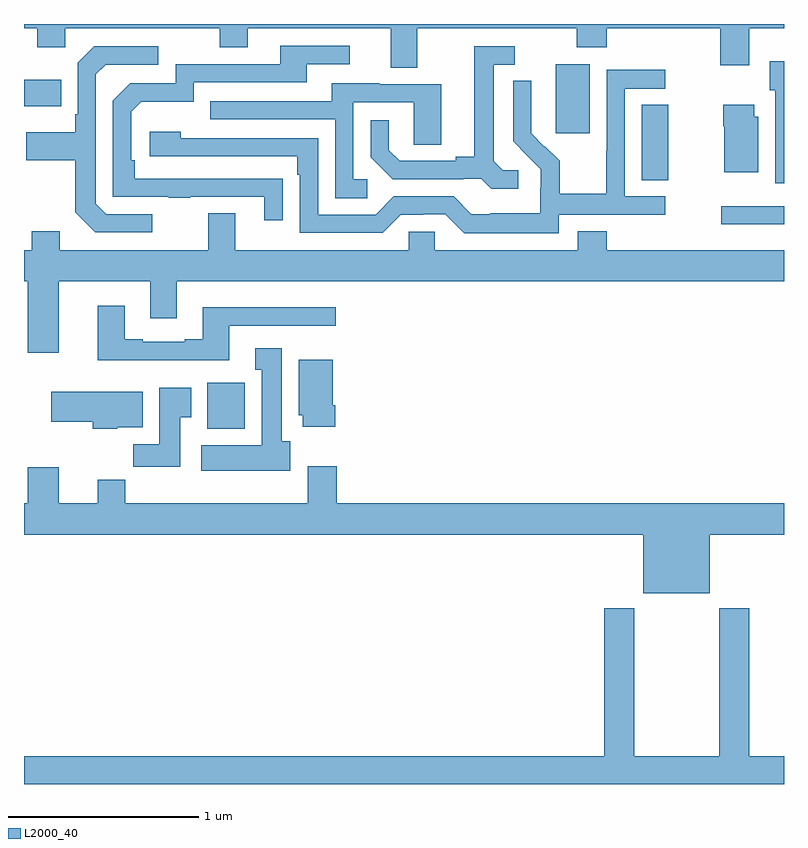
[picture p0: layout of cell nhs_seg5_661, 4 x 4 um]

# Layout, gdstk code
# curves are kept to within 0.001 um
import gdstk
lib = gdstk.Library(unit=1e-6, precision=1e-09)
def R(c, l, rs):  # rectangles x0, y0, x1, y1
    for r in rs: c.add(gdstk.rectangle(r[:2], r[2:], *l))
def P(c, l, *ps):  # polygons
    for p in ps: c.add(gdstk.Polygon(p, *l))
L2000_40 = (2000, 40)

nhs_seg5_661 = lib.new_cell('nhs_seg5_661')
R(nhs_seg5_661, L2000_40, [(153.965,838.67,154.162,838.912), (156.669,839.744,157,839.841), (156.251,839.977,156.39,840.374), (155.798,840.225,155.977,840.586), (153,840.365,153.197,840.505)])
P(nhs_seg5_661, L2000_40, [(153,840.776),(153.07,840.776),(153.07,840.677),(153.216,840.677),(153.216,840.776),(154.03,840.776),(154.03,840.677),(154.177,840.677),(154.177,840.776),(154.931,840.776),(154.931,840.568),(155.071,840.568),(155.071,840.776),(155.908,840.776),(155.908,840.677),(156.068,840.677),(156.068,840.776),(156.665,840.776),(156.665,840.582),(156.817,840.582),(156.817,840.776),(157,840.776),(157,840.799),(153,840.799)],
  [(154.361,839.984),(153.584,839.985),(153.584,840.082),(153.564,840.082),(153.564,840.336),(153.617,840.389),(153.894,840.389),(153.894,840.492),(154.489,840.492),(154.489,840.588),(154.714,840.588),(154.714,840.684),(154.349,840.684),(154.349,840.588),(153.798,840.588),(153.798,840.486),(153.558,840.486),(153.468,840.396),(153.468,839.889),(153.763,839.889),(153.763,839.884),(153.875,839.884),(153.875,839.889),(154.265,839.889),(154.265,839.766),(154.361,839.766)],
  [(155.602,840.03),(155.52,840.03),(155.473,840.077),(155.473,840.585),(155.584,840.585),(155.584,840.681),(155.369,840.681),(155.369,840.101),(155.273,840.101),(155.273,840.078),(154.978,840.078),(154.921,840.135),(154.921,840.292),(154.824,840.292),(154.824,840.098),(154.94,839.982),(155.312,839.982),(155.312,839.985),(155.406,839.985),(155.458,839.933),(155.602,839.933)],
  [(153.676,839.799),(153.432,839.799),(153.378,839.853),(153.378,840.534),(153.429,840.585),(153.706,840.585),(153.706,840.681),(153.369,840.681),(153.282,840.594),(153.282,840.325),(153.27,840.325),(153.27,840.229),(153.013,840.229),(153.013,840.082),(153.27,840.082),(153.27,839.809),(153.375,839.703),(153.676,839.703)],
  [(157,840.604),(156.926,840.604),(156.926,840.45),(156.953,840.45),(156.953,839.961),(157,839.961)],
  [(155.814,839.796),(156.376,839.796),(156.376,839.892),(156.162,839.892),(156.162,840.459),(156.376,840.459),(156.376,840.558),(156.066,840.558),(156.066,840.128),(156.064,840.128),(156.064,839.905),(155.819,839.905),(155.819,840.079),(155.742,840.156),(155.739,840.153),(155.669,840.224),(155.67,840.5),(155.574,840.5),(155.574,840.182),(155.72,840.034),(155.72,839.937),(155.718,839.937),(155.718,839.803),(155.455,839.803),(155.455,839.799),(155.355,839.799),(155.262,839.892),(154.947,839.892),(154.851,839.796),(154.548,839.796),(154.548,840.198),(153.824,840.198),(153.824,840.232),(153.663,840.232),(153.663,840.102),(154.439,840.102),(154.439,840.005),(154.452,840.005),(154.452,839.7),(154.887,839.7),(154.983,839.796),(155.102,839.796),(155.102,839.799),(155.217,839.799),(155.317,839.699),(155.814,839.699)],
  [(154.807,839.982),(154.734,839.982),(154.734,840.387),(155.052,840.387),(155.052,840.163),(155.197,840.163),(155.197,840.483),(154.873,840.483),(154.873,840.487),(154.619,840.487),(154.619,840.393),(153.979,840.393),(153.979,840.297),(154.638,840.297),(154.638,839.881),(154.807,839.881)],
  [(156.865,840.312),(156.844,840.312),(156.844,840.373),(156.679,840.373),(156.679,840.26),(156.686,840.26),(156.686,840.02),(156.865,840.02)],
  [(153.184,839.444),(153.665,839.444),(153.665,839.25),(153.805,839.25),(153.805,839.444),(157,839.444),(157,839.608),(156.068,839.608),(156.068,839.707),(155.915,839.707),(155.915,839.608),(155.163,839.608),(155.163,839.706),(155.025,839.706),(155.025,839.608),(154.111,839.608),(154.111,839.803),(153.971,839.803),(153.971,839.608),(153.187,839.608),(153.187,839.707),(153.04,839.707),(153.04,839.608),(153,839.608),(153,839.444),(153.02,839.444),(153.02,839.07),(153.184,839.07)],
  [(154.081,839.211),(154.642,839.211),(154.642,839.308),(153.941,839.308),(153.941,839.14),(153.845,839.14),(153.845,839.127),(153.625,839.127),(153.625,839.14),(153.529,839.14),(153.529,839.317),(153.389,839.317),(153.389,839.03),(154.081,839.03)],
  [(154.402,838.602),(154.357,838.602),(154.357,839.092),(154.217,839.092),(154.217,838.979),(154.25,838.979),(154.25,838.582),(153.933,838.582),(153.933,838.448),(154.402,838.448)],
  [(154.637,838.792),(154.624,838.792),(154.624,839.032),(154.445,839.032),(154.445,838.74),(154.466,838.74),(154.466,838.68),(154.637,838.68)],
  [(153.823,838.729),(153.88,838.729),(153.88,838.885),(153.713,838.885),(153.713,838.588),(153.574,838.588),(153.574,838.47),(153.823,838.47)],
  [(153.492,838.676),(153.625,838.676),(153.625,838.864),(153.144,838.864),(153.144,838.706),(153.362,838.706),(153.362,838.67),(153.492,838.67)],
  [(156.61,838.112),(157,838.112),(157,838.276),(154.646,838.276),(154.646,838.471),(154.493,838.471),(154.493,838.276),(153.533,838.276),(153.533,838.4),(153.389,838.4),(153.389,838.276),(153.184,838.276),(153.184,838.465),(153.02,838.465),(153.02,838.276),(153,838.276),(153,838.112),(156.26,838.112),(156.26,837.803),(156.61,837.803)],
  [(157,836.944),(156.818,836.944),(156.818,837.724),(156.658,837.724),(156.658,836.944),(156.213,836.944),(156.213,837.724),(156.053,837.724),(156.053,836.944),(153,836.944),(153,836.799),(157,836.799)])

lib.write_gds('nhs_seg5_661.gds')
